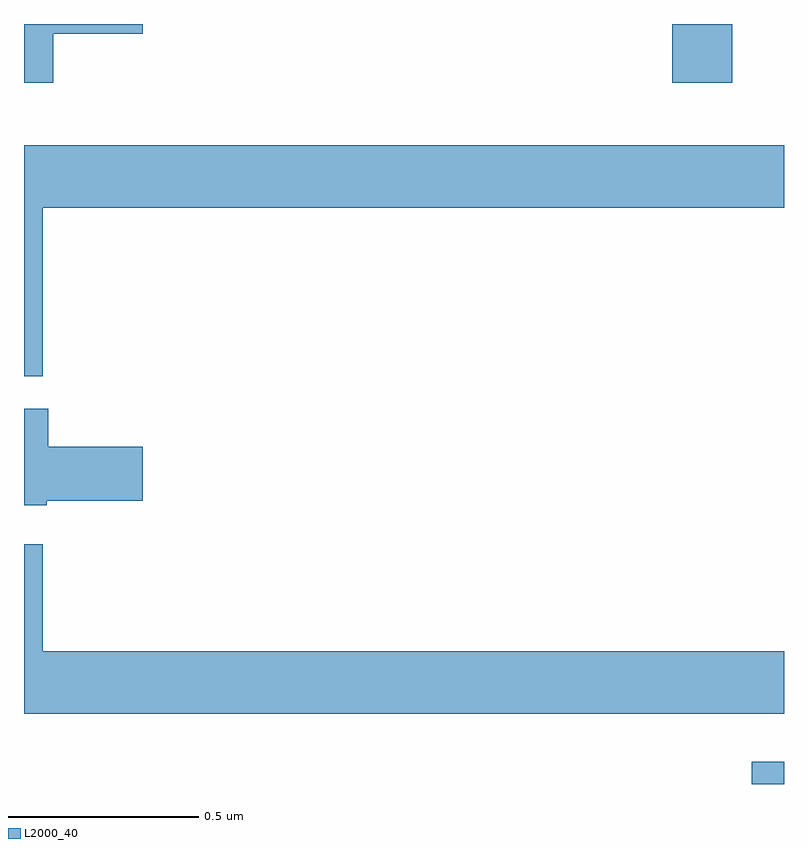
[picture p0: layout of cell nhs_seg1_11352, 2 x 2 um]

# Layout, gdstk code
import gdstk
lib = gdstk.Library(unit=1e-6, precision=1e-09)
def R(c, l, rs):  # rectangles x0, y0, x1, y1
    for r in rs: c.add(gdstk.rectangle(r[:2], r[2:], *l))
def P(c, l, *ps):  # polygons
    for p in ps: c.add(gdstk.Polygon(p, *l))
L2000_40 = (2000, 40)

nhs_seg1_11352 = lib.new_cell('nhs_seg1_11352')
R(nhs_seg1_11352, L2000_40, [(253.915,566.199,254,566.257), (253.706,568.044,253.864,568.199)])
P(nhs_seg1_11352, L2000_40, [(252.077,568.174),(252.313,568.174),(252.313,568.199),(252,568.199),(252,568.044),(252.077,568.044)],
  [(252.049,567.716),(254,567.716),(254,567.88),(252,567.88),(252,567.272),(252.049,567.272)],
  [(252.06,566.944),(252.313,566.944),(252.313,567.086),(252.064,567.086),(252.064,567.187),(252,567.187),(252,566.933),(252.06,566.933)],
  [(254,566.548),(252.049,566.548),(252.049,566.83),(252,566.83),(252,566.384),(254,566.384)])

lib.write_gds('nhs_seg1_11352.gds')
